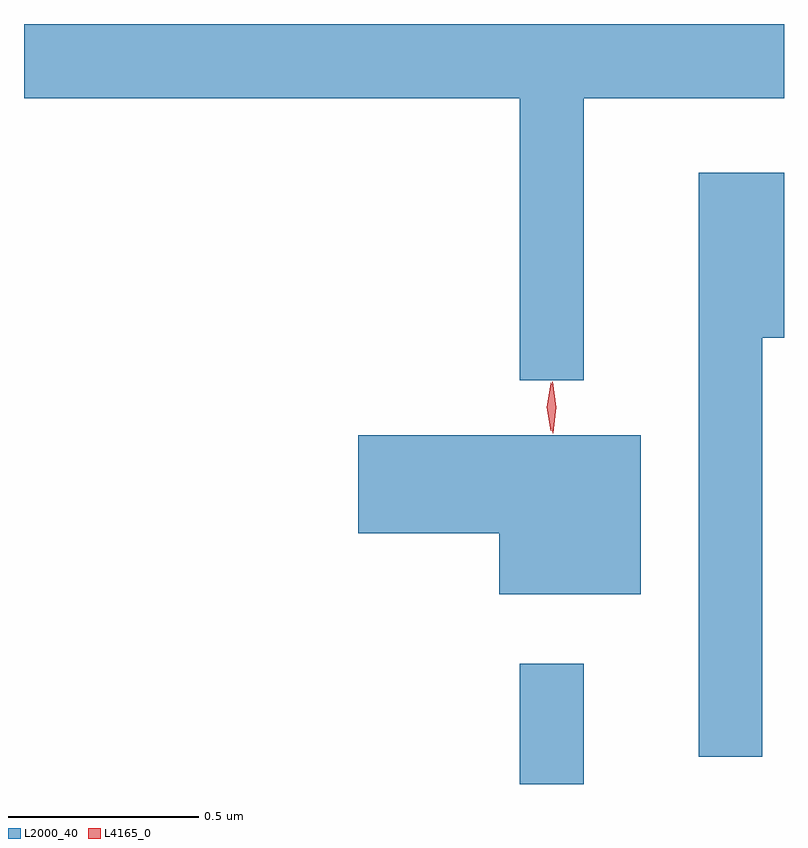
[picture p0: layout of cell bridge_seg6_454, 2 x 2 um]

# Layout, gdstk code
import gdstk
lib = gdstk.Library(unit=1e-6, precision=1e-09)
def R(c, l, rs):  # rectangles x0, y0, x1, y1
    for r in rs: c.add(gdstk.rectangle(r[:2], r[2:], *l))
def P(c, l, *ps):  # polygons
    for p in ps: c.add(gdstk.Polygon(p, *l))
L2000_40 = (2000, 40)
L4165_0 = (4165, 0)

bridge_seg6_454 = lib.new_cell('bridge_seg6_454')
R(bridge_seg6_454, L2000_40, [(965.711,1601.511,965.879,1601.828)])
P(bridge_seg6_454, L2000_40, [(965.879,1603.316),(966.406,1603.316),(966.406,1603.511),(964.406,1603.511),(964.406,1603.316),(965.711,1603.316),(965.711,1602.573),(965.879,1602.573)],
  [(966.349,1602.686),(966.406,1602.686),(966.406,1603.119),(966.181,1603.119),(966.181,1601.583),(966.349,1601.583)],
  [(966.029,1602.429),(965.286,1602.429),(965.286,1602.171),(965.656,1602.171),(965.656,1602.011),(966.029,1602.011)])
P(bridge_seg6_454, L4165_0, [(965.792,1602.44),(965.792,1602.44),(965.782,1602.503),(965.792,1602.566),(965.792,1602.567),(965.793,1602.566),(965.802,1602.503),(965.793,1602.44)],
  [(965.798,1602.434),(965.798,1602.434),(965.788,1602.502),(965.796,1602.57),(965.797,1602.57),(965.797,1602.57),(965.807,1602.502),(965.799,1602.434)])

lib.write_gds('bridge_seg6_454.gds')
